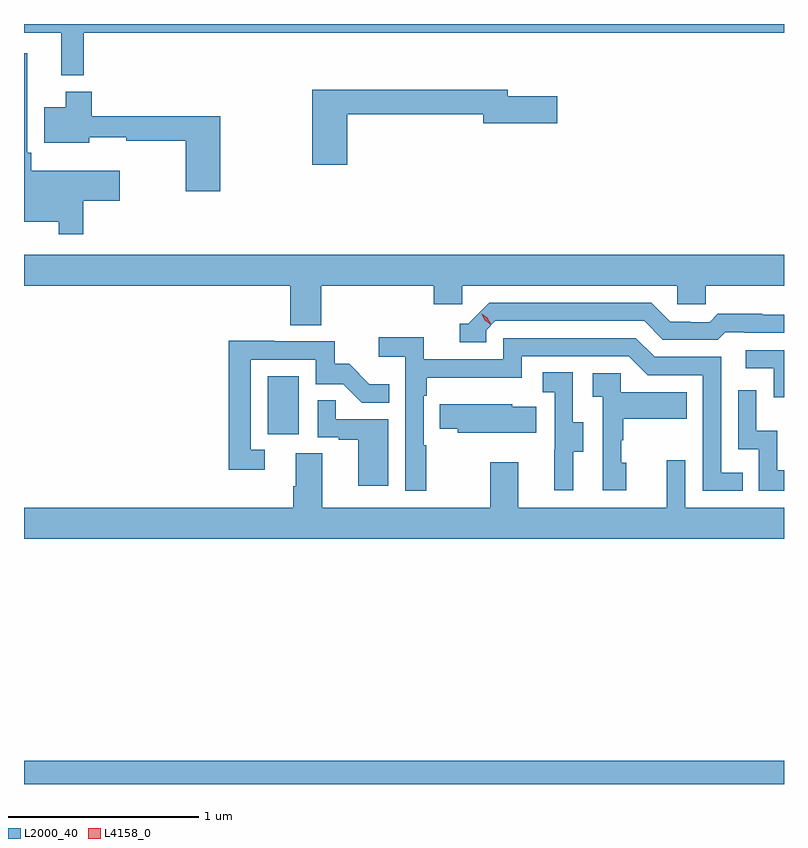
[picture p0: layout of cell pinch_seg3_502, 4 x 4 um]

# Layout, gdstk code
import gdstk
lib = gdstk.Library(unit=1e-6, precision=1e-09)
def R(c, l, rs):  # rectangles x0, y0, x1, y1
    for r in rs: c.add(gdstk.rectangle(r[:2], r[2:], *l))
def P(c, l, *ps):  # polygons
    for p in ps: c.add(gdstk.Polygon(p, *l))
L2000_40 = (2000, 40)
L4158_0 = (4158, 0)

pinch_seg3_502 = lib.new_cell('pinch_seg3_502')
R(pinch_seg3_502, L2000_40, [(982.107,676.982,986.107,677.104), (983.39,678.822,983.554,679.129)])
P(pinch_seg3_502, L2000_40, [(982.421,680.936),(986.107,680.936),(986.107,680.982),(982.107,680.982),(982.107,680.936),(982.304,680.936),(982.304,680.711),(982.421,680.711)],
  [(982.418,680.051),(982.612,680.051),(982.612,680.209),(982.145,680.209),(982.145,680.305),(982.125,680.305),(982.125,680.827),(982.107,680.827),(982.107,679.94),(982.29,679.94),(982.29,679.875),(982.418,679.875)],
  [(983.807,680.506),(984.524,680.506),(984.524,680.459),(984.913,680.459),(984.913,680.601),(984.652,680.601),(984.652,680.635),(983.624,680.635),(983.624,680.241),(983.807,680.241)],
  [(983.141,680.497),(982.463,680.497),(982.463,680.626),(982.328,680.626),(982.328,680.545),(982.214,680.545),(982.214,680.357),(982.45,680.357),(982.45,680.387),(982.646,680.387),(982.646,680.368),(982.958,680.368),(982.958,680.103),(983.141,680.103)],
  [(983.672,679.604),(984.263,679.604),(984.263,679.506),(984.414,679.506),(984.414,679.604),(985.545,679.604),(985.545,679.506),(985.695,679.506),(985.695,679.604),(986.107,679.604),(986.107,679.768),(982.107,679.768),(982.107,679.604),(983.507,679.604),(983.507,679.396),(983.672,679.396)],
  [(984.54,679.371),(984.588,679.419),(985.371,679.419),(985.47,679.32),(985.759,679.32),(985.798,679.359),(985.897,679.359),(985.897,679.356),(986.107,679.356),(986.107,679.453),(985.992,679.453),(985.992,679.456),(985.759,679.456),(985.717,679.413),(985.614,679.413),(985.614,679.416),(985.507,679.416),(985.408,679.515),(984.555,679.515),(984.444,679.404),(984.401,679.404),(984.401,679.308),(984.54,679.308)],
  [(984.223,678.764),(984.21,678.764),(984.21,679.025),(984.227,679.025),(984.227,679.121),(984.726,679.121),(984.726,679.233),(985.29,679.233),(985.389,679.134),(985.68,679.134),(985.68,678.525),(985.889,678.525),(985.889,678.621),(985.776,678.621),(985.776,679.23),(985.426,679.23),(985.327,679.329),(984.63,679.329),(984.63,679.218),(984.212,679.218),(984.212,679.334),(983.973,679.334),(983.973,679.232),(984.114,679.232),(984.114,678.525),(984.223,678.525)],
  [(983.374,678.741),(983.301,678.741),(983.301,679.215),(983.643,679.215),(983.643,679.086),(983.787,679.086),(983.885,678.988),(984.029,678.988),(984.029,679.087),(983.925,679.087),(983.818,679.194),(983.742,679.194),(983.742,679.311),(983.423,679.311),(983.423,679.316),(983.185,679.316),(983.185,678.636),(983.374,678.636)],
  [(986.107,679.266),(985.905,679.266),(985.905,679.17),(986.052,679.17),(986.052,679.017),(986.107,679.017)],
  [(984.997,678.73),(985.051,678.73),(985.051,678.885),(984.996,678.885),(984.996,679.148),(984.837,679.148),(984.837,679.045),(984.9,679.045),(984.9,678.741),(984.899,678.741),(984.899,678.528),(984.997,678.528)],
  [(985.276,678.672),(985.251,678.672),(985.251,678.791),(985.261,678.791),(985.261,678.905),(985.595,678.905),(985.595,679.045),(985.248,679.045),(985.248,679.143),(985.101,679.143),(985.101,679.019),(985.152,679.019),(985.152,678.528),(985.276,678.528)],
  [(986.107,678.634),(986.072,678.634),(986.072,678.842),(985.962,678.842),(985.962,679.054),(985.866,679.054),(985.866,678.744),(985.974,678.744),(985.974,678.525),(986.107,678.525)],
  [(984.025,678.903),(983.747,678.903),(983.747,679.001),(983.652,679.001),(983.652,678.807),(983.763,678.807),(983.763,678.795),(983.867,678.795),(983.867,678.552),(984.025,678.552)],
  [(984.803,678.967),(984.678,678.967),(984.678,678.982),(984.406,678.982),(984.406,678.981),(984.295,678.981),(984.295,678.853),(984.389,678.853),(984.389,678.83),(984.803,678.83)],
  [(986.107,678.436),(985.587,678.436),(985.587,678.685),(985.49,678.685),(985.49,678.436),(984.709,678.436),(984.709,678.676),(984.562,678.676),(984.562,678.436),(983.677,678.436),(983.677,678.722),(983.537,678.722),(983.537,678.548),(983.525,678.548),(983.525,678.436),(982.107,678.436),(982.107,678.272),(986.107,678.272)])
P(pinch_seg3_502, L4158_0, [(984.562,679.403),(984.531,679.423),(984.515,679.456),(984.515,679.456),(984.516,679.456),(984.546,679.436),(984.563,679.404),(984.563,679.403)])

lib.write_gds('pinch_seg3_502.gds')
